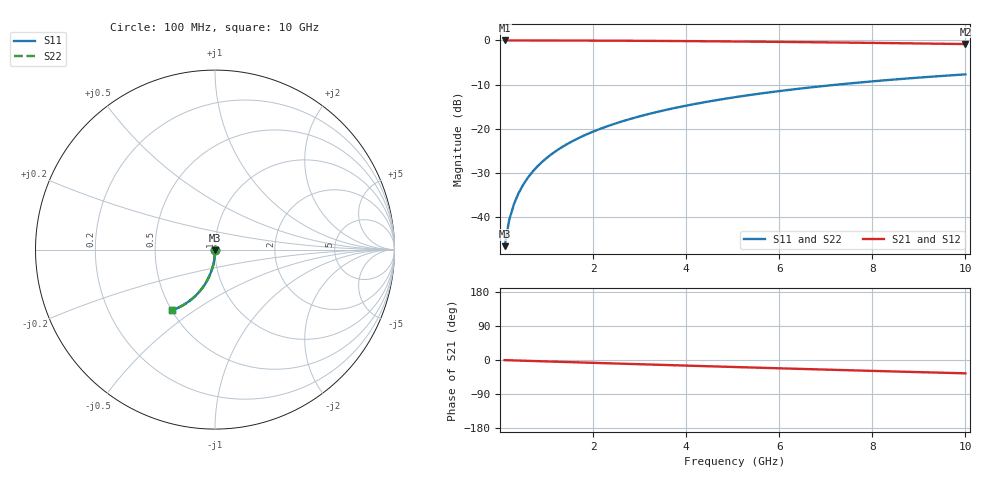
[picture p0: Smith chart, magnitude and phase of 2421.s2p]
# Hz S RI R 50.00
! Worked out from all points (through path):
!   100 points, 100 MHz to 10 GHz, reference 50 ohm
!   highest |S21| = 0.00 dB at 100 MHz (marker M1); lowest = -0.8 dB at 10 GHz (marker M2)
!   group delay of S21, straight-line fit = 9.81 ps
!   lowest |S11| = -46.6 dB at 100 MHz (marker M3), VSWR 1.01, Z = 50 - j0.466 ohm
!   |S11| at or under -10 dB: start of sweep to 7.255 GHz
!   |S22| runs from -46.6 to -7.7 dB; largest |S21 - S12| = 1e-12
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1e8  0.00043 -0.00466  0.9995 -0.0065  0.9995 -0.0065  0.00043 -0.00466
2e8  0.000337 -0.00932  0.9994 -0.013  0.9994 -0.013  0.000337 -0.00932
3e8  0.000182 -0.014  0.9992 -0.0195  0.9992 -0.0195  0.000182 -0.014
4e8  -3.32e-05 -0.0186  0.999 -0.026  0.999 -0.026  -3.32e-05 -0.0186
5e8  -0.000309 -0.0233  0.9987 -0.0325  0.9987 -0.0325  -0.000309 -0.0233
6e8  -0.000646 -0.0279  0.9983 -0.039  0.9983 -0.039  -0.000646 -0.0279
7e8  -0.00104 -0.0326  0.9979 -0.0455  0.9979 -0.0455  -0.00104 -0.0326
8e8  -0.0015 -0.0372  0.9974 -0.0519  0.9974 -0.0519  -0.0015 -0.0372
9e8  -0.00202 -0.0418  0.9969 -0.0584  0.9969 -0.0584  -0.00202 -0.0418
1.1e9  -0.00323 -0.0511  0.9956 -0.0713  0.9956 -0.0713  -0.00323 -0.0511
1.4e9  -0.0055 -0.0648  0.9932 -0.0906  0.9932 -0.0906  -0.0055 -0.0648
1.8e9  -0.00935 -0.083  0.9891 -0.1161  0.9891 -0.1161  -0.00935 -0.083
2.1e9  -0.0128 -0.0964  0.9854 -0.1351  0.9854 -0.1351  -0.0128 -0.0964
2.5e9  -0.0183 -0.1141  0.9797 -0.1601  0.9797 -0.1601  -0.0183 -0.1141
2.9e9  -0.0246 -0.1313  0.973 -0.1848  0.973 -0.1848  -0.0246 -0.1313
3.4e9  -0.0337 -0.1524  0.9633 -0.2151  0.9633 -0.2151  -0.0337 -0.1524
4.2e9  -0.0508 -0.1844  0.9452 -0.2619  0.9452 -0.2619  -0.0508 -0.1844
5.1e9  -0.0735 -0.2177  0.921 -0.312  0.921 -0.312  -0.0735 -0.2177
5.9e9  -0.0963 -0.2446  0.8967 -0.3538  0.8967 -0.3538  -0.0963 -0.2446
6.7e9  -0.1212 -0.2687  0.87 -0.393  0.87 -0.393  -0.1212 -0.2687
8.4e9  -0.1792 -0.3103  0.8074 -0.4667  0.8074 -0.4667  -0.1792 -0.3103
1e10  -0.2376 -0.3373  0.7437 -0.5241  0.7437 -0.5241  -0.2376 -0.3373
